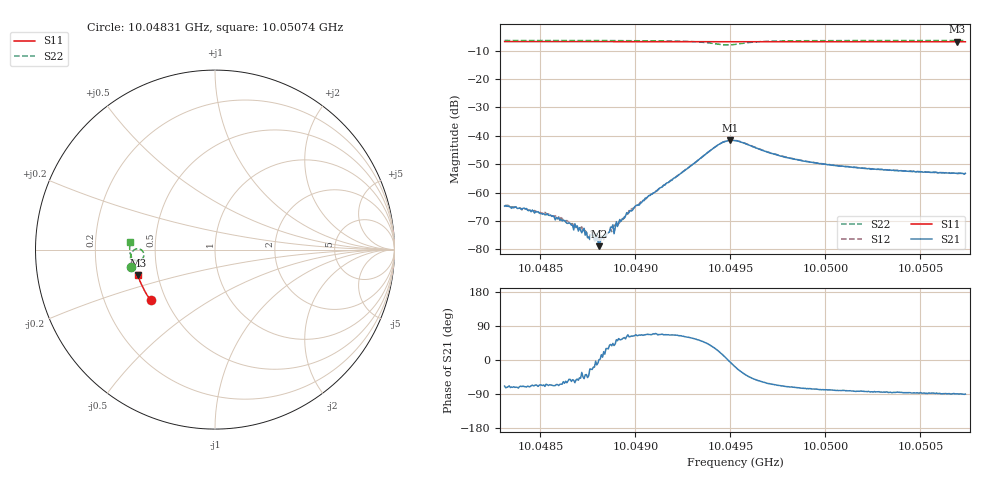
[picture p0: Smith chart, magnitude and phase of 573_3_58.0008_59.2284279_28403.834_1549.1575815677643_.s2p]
#  HZ  S  RI  R  50.00
! Rohde & Schwarz Vector Network Analyzer
! Rohde-Schwarz,ZNB20-2Port,1311601062101988,3.16
! Created: UTC 3/21/2024, 1:16:00 AM
! freq[Hz]  re:S11  im:S11  re:S21  im:S21  re:S12  im:S12  re:S22  im:S22
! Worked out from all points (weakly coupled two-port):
!   401 points, 10.04831 GHz to 10.05074 GHz, reference 50 ohm
!   highest |S21| = -41.57 dB at 10.0495 GHz (marker M1); lowest = -78.9 dB at 10.04881 GHz (marker M2)
!   lowest |S11| = -6.9 dB at 10.05069 GHz (marker M3), VSWR 2.65, Z = 19.3 - j6.93 ohm
!   |S11| at or under -10 dB: nowhere
!   |S22| runs from -8.0 to -6.4 dB; largest |S21 - S12| = 0.00061
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1.0048311e10  -0.3592 -0.2818  0.000209 -0.00054  0.000231 -0.000553  -0.467 -0.0983
1.0048536e10  -0.3678 -0.2695  0.000178 -0.000384  0.00019 -0.000368  -0.4694 -0.0821
1.0048718e10  -0.3744 -0.2597  0.000165 -0.000106  0.000158 -0.000193  -0.4709 -0.0684
1.0048748e10  -0.3755 -0.258  0.000111 -0.000116  0.000137 -0.000113  -0.4709 -0.0658
1.0048778e10  -0.3765 -0.2563  0.000164 -5.63e-05  0.000159 -5.42e-05  -0.4711 -0.0634
1.004879e10  -0.3771 -0.2556  0.000145 -8.11e-06  0.000162 -3.7e-05  -0.4712 -0.0625
1.0048796e10  -0.3772 -0.2552  0.000184 -4.3e-05  0.000134 -2.74e-05  -0.4712 -0.0617
1.0048808e10  -0.3777 -0.2547  0.000114 1.45e-06  0.000187 6.82e-06  -0.4713 -0.061
1.0048821e10  -0.3781 -0.2539  0.000167 4.13e-05  0.00014 6.42e-05  -0.4713 -0.0599
1.0048869e10  -0.3798 -0.2512  0.000187 0.000162  0.000156 0.000169  -0.4713 -0.0557
1.0048899e10  -0.3808 -0.2495  0.000183 0.000248  0.000184 0.000218  -0.4715 -0.053
1.0048912e10  -0.3813 -0.2488  0.000164 0.000248  0.000177 0.000223  -0.4714 -0.0521
1.0048978e10  -0.3834 -0.245  0.000216 0.000423  0.00022 0.000466  -0.4712 -0.0457
1.0049124e10  -0.3884 -0.2367  0.00045 0.00109  0.000417 0.00109  -0.4687 -0.0303
1.0049427e10  -0.3974 -0.219  0.00588 0.00305  0.00567 0.00344  -0.4145 0.000643
1.00495e10  -0.3991 -0.215  0.00829 -0.000924  0.00836 -0.000371  -0.3968 -0.0364
1.0049524e10  -0.3999 -0.2138  0.00781 -0.00257  0.00804 -0.00202  -0.4033 -0.0498
1.0049766e10  -0.4073 -0.1998  0.00162 -0.00408  0.00193 -0.00402  -0.4657 -0.0402
1.004993e10  -0.412 -0.1898  0.000797 -0.00332  0.00102 -0.0033  -0.4726 -0.0208
1.0050336e10  -0.4217 -0.1652  0.0002 -0.0025  0.000349 -0.00245  -0.4754 0.0144
1.0050694e10  -0.4291 -0.1429  2.03e-05 -0.00219  0.000119 -0.00216  -0.4739 0.0406
1.0050736e10  -0.43 -0.1403  -1.81e-07 -0.00219  0.000126 -0.00218  -0.4738 0.0436
